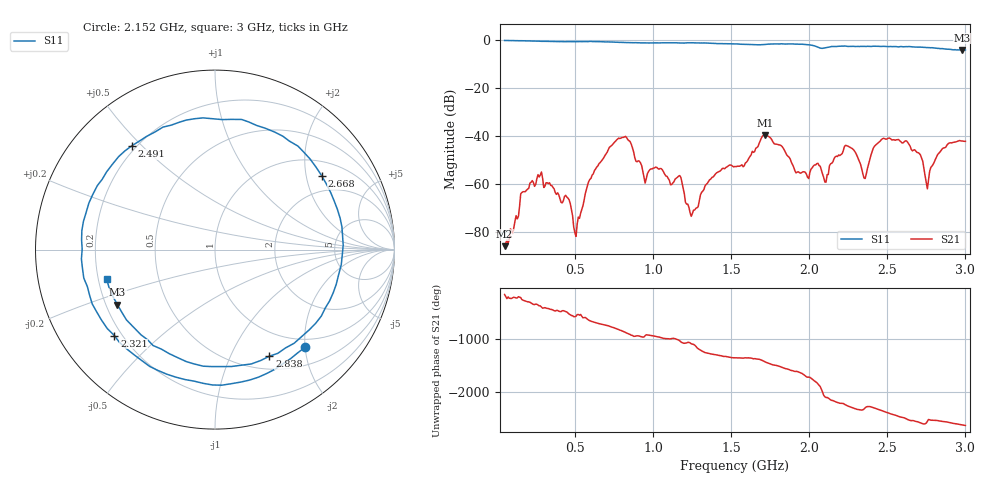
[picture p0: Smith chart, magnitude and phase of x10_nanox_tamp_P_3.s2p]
! nanovna_capture.py 2026-10-18T21:01:57+0900
! NanoVNA-F_V2 fw 0.6.0 SN 4A3639384505514B
! cal: load open short thru cal'ed  over 50000000-3000000000 Hz, 201 points
! points 401, avg 4
! S21: port1 = green ~10 mm H loop (flat, tape), port2 = GSM antenna; modified (implanted) Nano X at position P (P = user-found best placement), placement 3
# HZ S RI R 50
! S12 and S22 are not measured (written as 0)
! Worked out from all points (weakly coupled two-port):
!   401 points, 50 MHz to 3 GHz, reference 50 ohm
!   highest |S21| = -39.53 dB at 1.717 GHz (marker M1); lowest = -86.0 dB at 50 MHz (marker M2)
!   lowest |S11| = -4.1 dB at 2.978 GHz (marker M3), VSWR 4.32, Z = 12.3 - j12.4 ohm
!   |S11| at or under -10 dB: nowhere
!   S12 and S22 are empty: the file has one direction only
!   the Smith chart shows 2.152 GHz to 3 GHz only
!   S11 on the Smith chart (normalised r, x): 2.152 GHz: 0.83, -2.00; 2.321 GHz: 0.17, -0.36; 2.491 GHz: 0.18, +0.47; 2.668 GHz: 1.44, +2.47; 2.838 GHz: 0.66, -1.42; 3 GHz: 0.23, -0.13
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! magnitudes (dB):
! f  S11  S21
! 50 MHz  -0.1  -86.0
! 271.2 MHz  -0.4  -57.1
! 499.9 MHz  -0.6  -80.4
! 544.1 MHz  -0.6  -70.7
! 780.1 MHz  -0.9  -40.9
! 949.8 MHz  -1.1  -59.6
! 1.038 GHz  -1.1  -53.8
! 1.171 GHz  -1.2  -56.5
! 1.252 GHz  -1.1  -72.3
! 1.525 GHz  -1.6  -52.7
! 1.717 GHz  -1.8  -39.5
! 2.019 GHz  -2.1  -53.3
! 2.152 GHz  -2.6  -50.8
! 2.321 GHz  -2.6  -50.7
! 2.358 GHz  -2.6  -57.7
! 2.491 GHz  -2.6  -41.3
! 2.513 GHz  -2.7  -40.8
! 2.668 GHz  -2.8  -45.9
! 2.757 GHz  -3.1  -62.1
! 2.838 GHz  -3.5  -46.6
! 2.978 GHz  -4.1  -42.1
! 3 GHz  -4.1  -42.2
